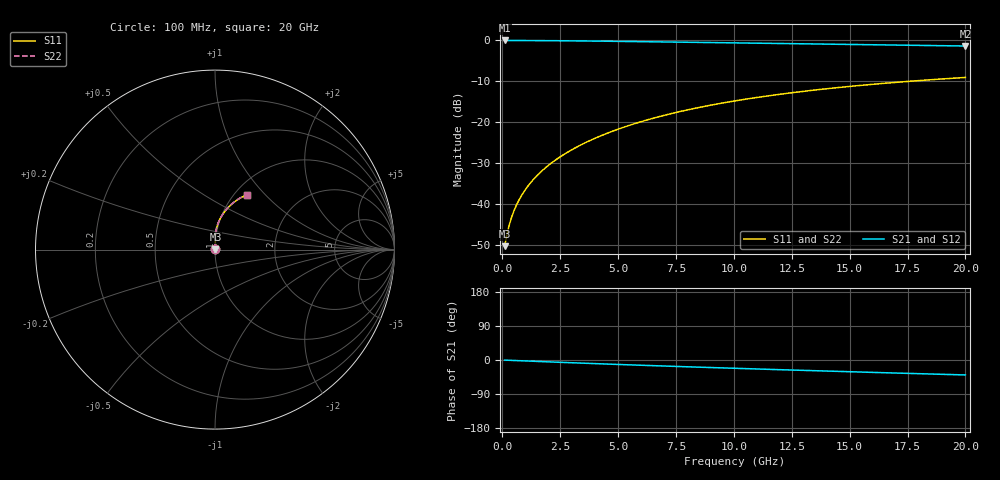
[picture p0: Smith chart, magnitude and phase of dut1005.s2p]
! Touchstone file exported from HFSS 2024.1.0
!  File:  C:/UserFiles/LocalFiles/RDL_TSV_Batchsim/temp_RDL_bottom_1005_1780050121.aedt
!  Generated:  06:24:28 PM May 29, 2026
!  Design:  RDL_bottom
!  Project:  temp_RDL_bottom_1005_1780050121
!  Setup:  Setup1
!  Solution:  Sweep
! Variables:
!  dtsv = 10.80580581um
!  hbump = 3um
!  htsv = 54.28um
!  ldown = 548.64um
!  lrdl = 100um
!  p = 40
!  p1 = 58.6um
!  rhole = 1um
!  t = 450um
!  tdown = 3.01um
!  trdl = 3.915915916um
!  wdown = 28.15um
!  wrdl = 20um
# GHz S MA R 50.000000
! Terminal data exported
! Port[1] = RDL1_T1
! Port[2] = RDL1_T2
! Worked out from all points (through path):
!   200 points, 100 MHz to 20 GHz, reference 50 ohm
!   highest |S21| = -0.02 dB at 100 MHz (marker M1); lowest = -1.4 dB at 20 GHz (marker M2)
!   group delay of S21, straight-line fit = 5.4 ps
!   lowest |S11| = -50.3 dB at 100 MHz (marker M3), VSWR 1.01, Z = 50.3 + j0.167 ohm
!   |S11| at or under -10 dB: start of sweep to 17.57 GHz
!   |S22| runs from -50.3 to -9.0 dB; largest |S21 - S12| = 3e-15
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0.1  0.003067 32.9  0.9974 -0.3  0.9974 -0.3  0.003067 32.9
! Gamma 0 0 0 0
! Port Impedance 50 0 50 0
0.2  0.004235 50.3  0.9972 -0.5  0.9972 -0.5  0.004235 50.3
0.3  0.005551 59.2  0.997 -0.8  0.997 -0.8  0.005551 59.2
0.4  0.006887 64.6  0.9968 -1.0  0.9968 -1.0  0.006887 64.6
0.5  0.008226 68.5  0.9966 -1.3  0.9966 -1.3  0.008225 68.5
0.6  0.009571 71.4  0.9963 -1.5  0.9963 -1.5  0.009571 71.4
0.8  0.0123 75.6  0.9959 -2.0  0.9959 -2.0  0.0123 75.7
1.1  0.01651 79.8  0.9951 -2.7  0.9951 -2.7  0.01651 79.8
1.3  0.01939 81.7  0.9945 -3.2  0.9945 -3.2  0.01939 81.7
1.6  0.02381 83.8  0.9935 -4.0  0.9935 -4.0  0.02381 83.9
2.1  0.03146 86.2  0.9914 -5.2  0.9914 -5.2  0.03147 86.3
2.7  0.0411 87.8  0.9883 -6.6  0.9883 -6.6  0.04113 87.9
3.5  0.05473 88.8  0.9834 -8.4  0.9834 -8.4  0.05478 88.9
4.2  0.06732 89.0  0.9785 -10.0  0.9785 -10.0  0.06739 89.1
5  0.08233 88.5  0.9725 -11.8  0.9725 -11.8  0.08244 88.6
5.9  0.09979 87.5  0.9655 -13.7  0.9655 -13.7  0.09995 87.6
6.8  0.1176 86.1  0.9582 -15.6  0.9582 -15.6  0.1178 86.2
8.4  0.1497 83.1  0.9453 -18.8  0.9453 -18.8  0.15 83.2
10.1  0.1834 79.5  0.9315 -22.0  0.9315 -22.0  0.1838 79.7
13.4  0.2457 72.6  0.9052 -28.1  0.9052 -28.1  0.2463 72.7
16.7  0.3023 65.9  0.8791 -33.9  0.8791 -33.9  0.303 66.1
20  0.3526 59.8  0.8532 -39.5  0.8532 -39.5  0.3535 59.9
